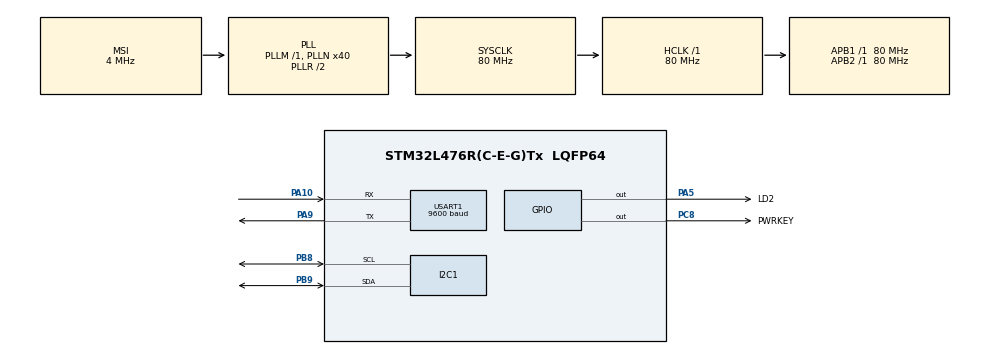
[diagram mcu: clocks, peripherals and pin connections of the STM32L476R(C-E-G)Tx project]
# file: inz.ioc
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Dma.Request0=USART1_RX
Dma.USART1_RX.0.Direction=DMA_PERIPH_TO_MEMORY
Dma.USART1_RX.0.Instance=DMA1_Channel5
Dma.USART1_RX.0.MemDataAlignment=DMA_MDATAALIGN_BYTE
Dma.USART1_RX.0.MemInc=DMA_MINC_ENABLE
Dma.USART1_RX.0.Mode=DMA_CIRCULAR
Dma.USART1_RX.0.PeriphDataAlignment=DMA_PDATAALIGN_BYTE
Dma.USART1_RX.0.PeriphInc=DMA_PINC_DISABLE
Dma.USART1_RX.0.Priority=DMA_PRIORITY_LOW
I2C1.Timing=0x10909CEC
Mcu.Family=STM32L4
Mcu.Name=STM32L476R(C-E-G)Tx
Mcu.Package=LQFP64
NVIC.DMA1_Channel5_IRQn=true\:0\:0\:false\:false\:true\:false\:true\:true
NVIC.PriorityGroup=NVIC_PRIORITYGROUP_4
PA10.Mode=Asynchronous
PA10.Signal=USART1_RX
PA5.GPIO_Label=LD2
PA5.Signal=GPIO_Output
PA9.GPIO_PuPd=GPIO_NOPULL
PA9.Mode=Asynchronous
PA9.Signal=USART1_TX
PB8.Mode=I2C
PB8.Signal=I2C1_SCL
PB9.Mode=I2C
PB9.Signal=I2C1_SDA
PC8.GPIO_Label=PWRKEY
PC8.PinState=GPIO_PIN_SET
PC8.Signal=GPIO_Output
PH0-OSC_IN\ (PH0).Mode=HSE-External-Oscillator
PH0-OSC_IN\ (PH0).Signal=RCC_OSC_IN
PH1-OSC_OUT\ (PH1).Mode=HSE-External-Oscillator
PH1-OSC_OUT\ (PH1).Signal=RCC_OSC_OUT
ProjectManager.HeapSize=0x200
ProjectManager.StackSize=0x400
ProjectManager.TargetToolchain=STM32CubeIDE
RCC.AHBFreq_Value=80000000
RCC.APB1Freq_Value=80000000
RCC.APB1TimFreq_Value=80000000
RCC.APB2Freq_Value=80000000
RCC.APB2TimFreq_Value=80000000
RCC.CortexFreq_Value=80000000
RCC.HCLKFreq_Value=80000000
RCC.HSE_VALUE=8000000
RCC.HSI_VALUE=16000000
RCC.LSE_VALUE=32768
RCC.MSI_VALUE=4000000
RCC.PLLN=40
RCC.SYSCLKFreq_VALUE=80000000
RCC.SYSCLKSource=RCC_SYSCLKSOURCE_PLLCLK
RCC.VCOOutputFreq_Value=160000000
USART1.BaudRate=9600
USART1.VirtualMode-Asynchronous=VM_ASYNC
board=custom

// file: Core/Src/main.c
/* USER CODE BEGIN Header */
/**
  ******************************************************************************
  * @file           : main.c
  * @brief          : Main program body
  ******************************************************************************
  * @attention
  *
  * Copyright (c) 2022 STMicroelectronics.
  * All rights reserved.
  *
  * This software is licensed under terms that can be found in the LICENSE file
  * in the root directory of this software component.
  * If no LICENSE file comes with this software, it is provided AS-IS.
  *
  ******************************************************************************
  */
/* USER CODE END Header */
#include "main.h"
#include "dma.h"
#include "i2c.h"
#include "usart.h"
#include "gpio.h"

/* USER CODE BEGIN Includes */
#include "sim7000g.h"
#include "bme680.h"
#include "bme680_add.h"
#include "string.h"
/* USER CODE END Includes */

/* USER CODE BEGIN PV */
uint8_t RX[30] = {};
/* USER CODE END PV */

void SystemClock_Config(void);

/* USER CODE BEGIN 0 */
void HAL_UART_RxCpltCallback(UART_HandleTypeDef *huart)
{
  HAL_UART_Receive_DMA(&huart1, RX, 30);
}

void HAL_Delay(uint32_t Delay)
{
 uint32_t tickstart = HAL_GetTick();
 uint32_t wait = Delay;

 /* Add a period to guaranty minimum wait */
 if (wait < HAL_MAX_DELAY)
 {
   wait++;
 }

 while((HAL_GetTick() - tickstart) < wait)
 {
	 __WFI();
 }
}
/* USER CODE END 0 */

int main(void)
{
  /* USER CODE BEGIN 1 */
	struct bme680_dev bme680_sensor;
	struct bme680_field_data data;
  /* USER CODE END 1 */

  /* MCU Configuration--------------------------------------------------------*/

  /* Reset of all peripherals, Initializes the Flash interface and the Systick. */
  HAL_Init();

  /* Configure the system clock */
  SystemClock_Config();

  /* Initialize all configured peripherals */
  MX_GPIO_Init();
  MX_DMA_Init();
  MX_USART1_UART_Init();
  MX_I2C1_Init();
  /* USER CODE BEGIN 2 */
  if (init_sensor(&bme680_sensor) != BME680_OK) {
	  return 1;
  }

  if (set_sensor_settings(&bme680_sensor) != BME680_OK) {
	  return 2;
  }

  uint16_t meas_period;
  bme680_get_profile_dur(&meas_period, &bme680_sensor);
  HAL_UART_Receive_DMA(&huart1, RX, 30);
  /* USER CODE END 2 */

  /* Infinite loop */
  /* USER CODE BEGIN WHILE */
  while (1)
  {
	  HAL_Delay(meas_period); // Delay till the measurement is ready

	  if (bme680_get_sensor_data(&data, &bme680_sensor) == BME680_OK) {
		  if(data.status & BME680_GASM_VALID_MSK) {
		      const int size = snprintf(NULL, 0,"{\"temperature\":%f,\"humidity\":%f,\"pressure\":%f,\"voc\":%d}", data.temperature / 100.0f, data.humidity / 1000.0f, data.pressure / 100.0f, data.gas_resistance);

		      if (size != 0) {
		    	  char json_to_send[size];
		    	  sprintf(json_to_send, "{\"temperature\":%f,\"humidity\":%f,\"pressure\":%f,\"voc\":%d}", data.temperature / 100.0f, data.humidity / 1000.0f, data.pressure / 100.0f, data.gas_resistance);

		    	  power_on();

		    	  for (int i = 0; i < 20; i++) {
		    		  send_at();
		    		  HAL_Delay(100);
		    	  }

		    	  memset(RX, 0, strlen(RX));
		    	  set_mqtt_config();
		    	  HAL_Delay(1000);
		    	  start_gsm_connection();
		    	  HAL_Delay(5000);
		    	  start_mqtt_connection();
			      mqtt_publish(json_to_send, size);
			      end_mqtt_connection();
			      power_off();
		      }
		  }
	  }

      if (bme680_sensor.power_mode == BME680_FORCED_MODE) {
    	  bme680_set_sensor_mode(&bme680_sensor);
      }
	  HAL_Delay(3600000); // every one hour
    /* USER CODE END WHILE */

  }
}

void SystemClock_Config(void)
{
  RCC_OscInitTypeDef RCC_OscInitStruct = {0};
  RCC_ClkInitTypeDef RCC_ClkInitStruct = {0};

  /** Configure the main internal regulator output voltage
  */
  if (HAL_PWREx_ControlVoltageScaling(PWR_REGULATOR_VOLTAGE_SCALE1) != HAL_OK)
  {
    Error_Handler();
  }

  /** Initializes the RCC Oscillators according to the specified parameters
  * in the RCC_OscInitTypeDef structure.
  */
  RCC_OscInitStruct.OscillatorType = RCC_OSCILLATORTYPE_MSI;
  RCC_OscInitStruct.MSIState = RCC_MSI_ON;
  RCC_OscInitStruct.MSICalibrationValue = 0;
  RCC_OscInitStruct.MSIClockRange = RCC_MSIRANGE_6;
  RCC_OscInitStruct.PLL.PLLState = RCC_PLL_ON;
  RCC_OscInitStruct.PLL.PLLSource = RCC_PLLSOURCE_MSI;
  RCC_OscInitStruct.PLL.PLLM = 1;
  RCC_OscInitStruct.PLL.PLLN = 40;
  RCC_OscInitStruct.PLL.PLLP = RCC_PLLP_DIV7;
  RCC_OscInitStruct.PLL.PLLQ = RCC_PLLQ_DIV2;
  RCC_OscInitStruct.PLL.PLLR = RCC_PLLR_DIV2;
  if (HAL_RCC_OscConfig(&RCC_OscInitStruct) != HAL_OK)
  {
    Error_Handler();
  }

  /** Initializes the CPU, AHB and APB buses clocks
  */
  RCC_ClkInitStruct.ClockType = RCC_CLOCKTYPE_HCLK|RCC_CLOCKTYPE_SYSCLK
                              |RCC_CLOCKTYPE_PCLK1|RCC_CLOCKTYPE_PCLK2;
  RCC_ClkInitStruct.SYSCLKSource = RCC_SYSCLKSOURCE_PLLCLK;
  RCC_ClkInitStruct.AHBCLKDivider = RCC_SYSCLK_DIV1;
  RCC_ClkInitStruct.APB1CLKDivider = RCC_HCLK_DIV1;
  RCC_ClkInitStruct.APB2CLKDivider = RCC_HCLK_DIV1;

  if (HAL_RCC_ClockConfig(&RCC_ClkInitStruct, FLASH_LATENCY_4) != HAL_OK)
  {
    Error_Handler();
  }
}

void Error_Handler(void)
{
  __disable_irq();
  while (1)
  {
  }
}
